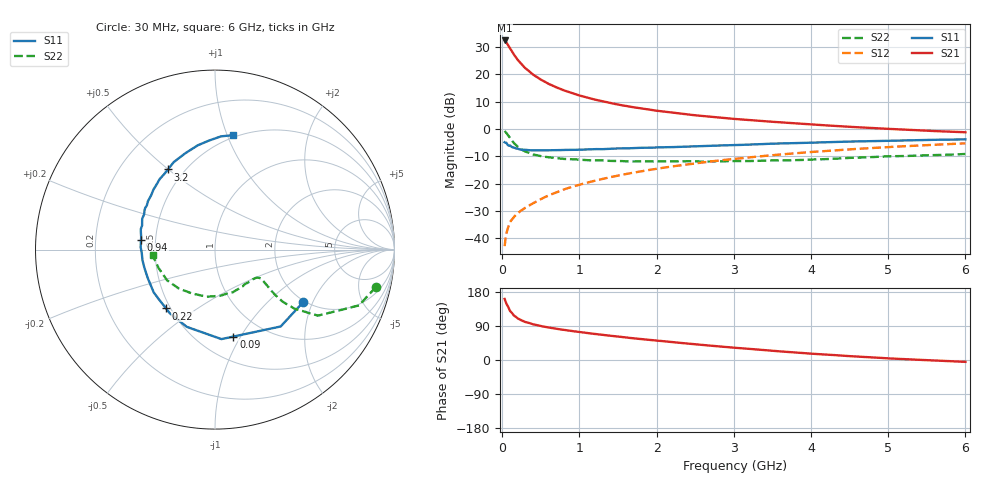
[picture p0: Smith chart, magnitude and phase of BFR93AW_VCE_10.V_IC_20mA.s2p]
! Infineon Technologies  Discrete & RF Semiconductors
! BFR93AW
! VCE =  10. V,  IC =  20 mA
! Common Emitter S-Parameters:  Nov 2015
# GHz  S  MA  R  50
!  f  S11  S21  S12  S22
! GHz  MAG  ANG  MAG  ANG  MAG  ANG  MAG  ANG
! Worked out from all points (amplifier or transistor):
!   206 points, 30 MHz to 6 GHz, reference 50 ohm
!   highest |S21| = 32.4 dB at 30 MHz (marker M1)
!   |S21| within 3 dB of that: start of sweep to 103.6 MHz
!   unconditionally stable (mu >= 1): 577.9 MHz to 2.19 GHz
!   at 200 MHz: K = 0.68, MSG = 28.0 dB, |S12| = -30.8 dB
!   at 1.56 GHz: K = 1.04, MAG = 11.4 dB, |S12| = -16.7 dB
!   at 6 GHz: K = 0.88, MSG = 2.0 dB, |S12| = -5.2 dB
!   S11 on the Smith chart (normalised r, x): 30 MHz: 1.94, -1.70; 90 MHz: 0.73, -0.93; 220 MHz: 0.47, -0.38; 940 MHz: 0.41, +0.05; 3.2 GHz: 0.41, +0.50; 6 GHz: 0.48, +1.05
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0.03  0.5715 -31.0  41.54 161.2  0.0072 73.5  0.9203 -13.1
0.05  0.5633 -49.5  38.93 149.3  0.0118 68.7  0.8604 -21.2
0.09  0.4951 -78.1  31.39 134.2  0.0183 63.6  0.7142 -29.9
0.1  0.4999 -85.9  29.94 129.4  0.0199 62.8  0.681 -32.7
0.15  0.4582 -110.1  22.94 117.4  0.0245 59.0  0.5529 -36.6
0.2  0.4351 -125.3  18.35 109.7  0.0288 60.3  0.4732 -37.6
0.22  0.4265 -129.8  17.04 107.8  0.0304 60.4  0.4515 -37.3
0.26  0.4177 -138.5  14.66 103.6  0.0334 60.9  0.4123 -36.8
0.3  0.4164 -145.1  12.84 100.2  0.0363 62.2  0.386 -36.1
0.4  0.4069 -157.2  9.817 94.1  0.0439 64.9  0.3425 -34.0
0.5  0.4063 -165.7  7.974 89.4  0.0521 66.9  0.3173 -32.9
0.6  0.4083 -171.7  6.683 85.7  0.061 68.4  0.3034 -32.2
0.7  0.4084 -177.1  5.776 82.4  0.069 69.4  0.294 -32.5
0.94  0.4158 172.8  4.355 75.5  0.0905 70.8  0.2783 -34.4
1.04  0.4194 169.2  3.952 72.8  0.0993 70.7  0.2727 -36.0
1.5  0.4409 156.8  2.794 61.8  0.1406 69.7  0.2605 -44.9
2.02  0.461 143.9  2.141 50.6  0.1889 67.0  0.2551 -58.0
3.1  0.512 122.2  1.492 31.0  0.2925 58.5  0.2587 -86.7
3.2  0.518 120.4  1.456 29.4  0.3023 57.5  0.2593 -90.0
4.1  0.5666 105.4  1.186 15.5  0.3879 48.8  0.2782 -120.7
5.1  0.6123 91.9  0.99 3.4  0.4752 38.0  0.3181 -150.3
6  0.6451 81.2  0.871 -4.9  0.5464 28.4  0.349 -174.6
